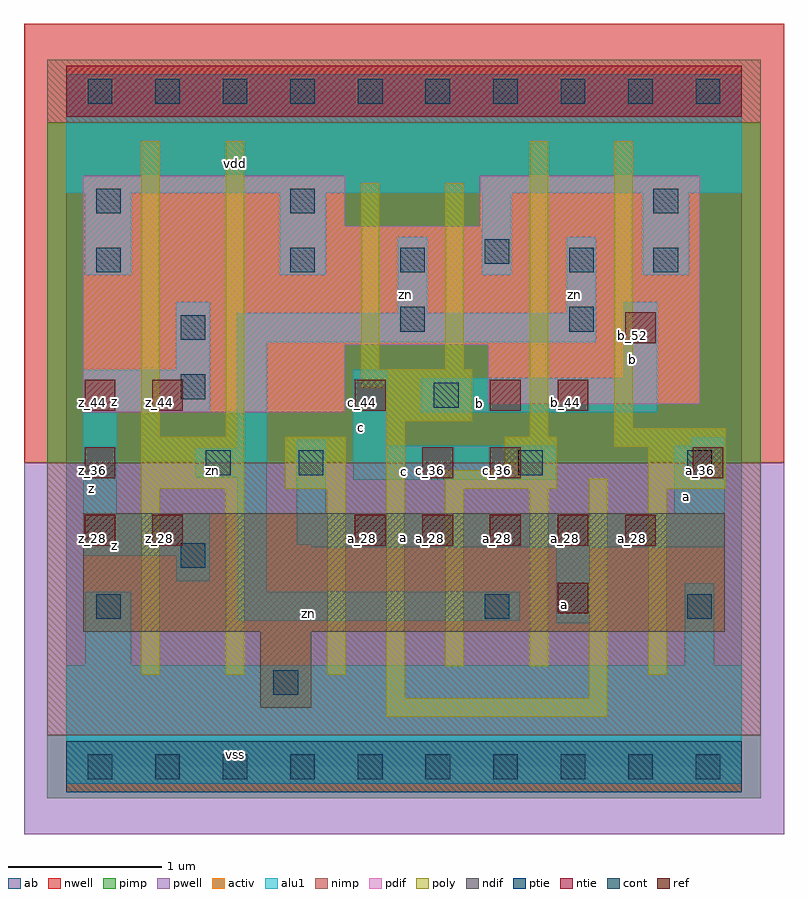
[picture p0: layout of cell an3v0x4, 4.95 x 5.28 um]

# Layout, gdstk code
import gdstk
lib = gdstk.Library(unit=1e-6, precision=2.5e-09)
def R(c, l, rs):  # rectangles x0, y0, x1, y1
    for r in rs: c.add(gdstk.rectangle(r[:2], r[2:], *l))
def A(c, l, x, y, w, h, nx, ny, dx, dy):  # array of equal rectangles
    R(c, l, [(x+i*dx, y+j*dy, x+i*dx+w, y+j*dy+h) for i in range(nx) for j in range(ny)])
ndif = (3, 0)
pdif = (4, 0)
ntie = (5, 0)
ptie = (6, 0)
ref = (24, 0)
cont = (25, 0)
pwell = (41, 0)
nwell = (42, 0)
activ = (43, 0)
pimp = (44, 0)
nimp = (45, 0)
poly = (46, 0)
alu1 = (49, 0)
ab = (63, 0)

an3v0x4 = lib.new_cell('an3v0x4')
R(an3v0x4, ndif, [(1.265,0.385,1.595,0.88), (0.11,0.88,4.29,1.65)])
R(an3v0x4, pdif, [(0.11,2.31,1.815,2.75), (2.75,2.365,4.125,2.75), (0.11,2.75,4.125,3.52), (0.11,3.52,1.815,3.85), (2.695,3.52,4.125,3.85)])
R(an3v0x4, ntie, [(0,4.235,4.4,4.565)])
R(an3v0x4, ptie, [(0,-0.165,4.4,0.165)])
A(an3v0x4, ref, 0.12, 1.44, 0.2, 0.2, 1, 3, 0, 0.44)
A(an3v0x4, ref, 1.88, 1.44, 0.2, 0.2, 5, 1, 0.44, 0)
R(an3v0x4, ref, [(3.2,1,3.4,1.2), (0.56,1.44,0.76,1.64), (2.32,1.88,2.52,2.08), (2.76,1.88,2.96,2.08), (4.08,1.88,4.28,2.08), (0.56,2.32,0.76,2.52), (1.88,2.32,2.08,2.52), (2.76,2.32,2.96,2.52), (3.2,2.32,3.4,2.52), (3.64,2.76,3.84,2.96)])
A(an3v0x4, cont, 0.14, -0.08, 0.16, 0.16, 10, 2, 0.44, 4.4)
R(an3v0x4, cont, [(1.35,0.47,1.51,0.63), (0.195,0.965,0.355,1.125), (2.725,0.965,2.885,1.125), (4.045,0.965,4.205,1.125), (0.745,1.295,0.905,1.455), (0.91,1.9,1.07,2.06), (1.515,1.9,1.675,2.06), (2.945,1.9,3.105,2.06), (4.045,1.9,4.205,2.06), (2.395,2.34,2.555,2.5), (0.745,2.395,0.905,2.555), (0.745,2.78,0.905,2.94), (2.175,2.835,2.335,2.995), (3.275,2.835,3.435,2.995), (0.195,3.22,0.355,3.38), (1.46,3.22,1.62,3.38), (2.175,3.22,2.335,3.38), (3.275,3.22,3.435,3.38), (3.825,3.22,3.985,3.38), (2.725,3.275,2.885,3.435), (0.195,3.605,0.355,3.765), (1.46,3.605,1.62,3.765), (3.825,3.605,3.985,3.765)])
R(an3v0x4, pwell, [(-0.275,-0.44,4.675,1.98)])
R(an3v0x4, nwell, [(-0.275,1.98,4.675,4.84)])
R(an3v0x4, activ, [(0,-0.165,4.4,0.165), (1.265,0.385,1.595,0.88), (0.11,0.88,4.29,1.65), (0.11,2.31,1.815,2.75), (2.75,2.365,4.125,2.75), (0.11,2.75,4.125,3.52), (0.11,3.52,1.815,3.85), (2.695,3.52,4.125,3.85), (0,4.235,4.4,4.565)])
R(an3v0x4, pimp, [(-0.125,-0.205,4.525,0.205), (-0.125,1.98,4.525,4.195)])
R(an3v0x4, nimp, [(-0.125,0.205,4.525,1.98), (-0.125,4.195,4.525,4.605)])
R(an3v0x4, poly, [(2.085,0.325,3.525,0.445), (2.085,0.445,2.205,2.25), (3.405,0.445,3.525,1.875), (0.49,0.6,0.61,1.81), (1.04,0.6,1.16,1.81), (1.7,0.6,1.82,1.81), (3.79,0.6,3.91,1.81), (2.47,0.655,2.59,1.81), (3.02,0.655,3.14,1.81), (0.49,1.81,1.16,2.15), (1.425,1.81,1.82,2.15), (2.47,1.81,3.195,1.93), (3.79,1.81,4.295,2.085), (2.855,1.93,3.195,2.15), (3.57,2.085,4.295,2.205), (0.49,2.15,0.61,4.075), (1.04,2.15,1.16,4.075), (3.02,2.15,3.14,4.075), (3.57,2.205,3.69,4.075), (2.085,2.25,2.645,2.47), (1.92,2.47,2.645,2.59), (1.92,2.59,2.04,3.8), (2.47,2.59,2.59,3.8)])
R(an3v0x4, alu1, [(0,-0.11,4.4,0.66), (0.125,0.66,0.425,1.14), (4.03,0.66,4.22,1.195), (3.19,0.935,3.41,1.43), (1.115,0.95,2.955,1.14), (1.115,1.14,1.305,1.885), (0.715,1.21,0.935,1.375), (0.11,1.375,0.935,1.65), (1.595,1.43,4.29,1.445), (1.5,1.445,4.29,1.65), (0.11,1.65,0.33,2.31), (1.5,1.65,1.69,2.13), (3.96,1.65,4.29,2.09), (1.87,1.87,3.19,2.09), (0.84,1.885,1.305,2.075), (1.115,2.075,1.305,2.765), (1.87,2.09,2.09,2.585), (4.07,2.09,4.29,2.145), (0.11,2.31,0.935,2.585), (2.31,2.31,3.85,2.53), (3.63,2.53,3.85,3.025), (0.715,2.585,0.935,3.025), (1.115,2.765,3.45,2.955), (2.16,2.955,2.35,3.45), (3.26,2.955,3.45,3.45), (0.125,3.205,0.425,3.74), (1.39,3.205,1.69,3.74), (2.71,3.205,2.9,3.74), (3.755,3.205,4.055,3.74), (0,3.74,4.4,4.51)])
R(an3v0x4, ab, [(0,0,4.4,4.4)])
an3v0x4.add(gdstk.Label('vss', (1.1,0.0825), layer=49, texttype=0))
an3v0x4.add(gdstk.Label('a', (3.245,1.0575), layer=49, texttype=0))
an3v0x4.add(gdstk.Label('zn', (1.575,0.9975), layer=49, texttype=0))
an3v0x4.add(gdstk.Label('a', (2.1975,1.495), layer=49, texttype=0))
an3v0x4.add(gdstk.Label('a', (4.0425,1.76), layer=49, texttype=0))
an3v0x4.add(gdstk.Label('c', (2.2,1.925), layer=49, texttype=0))
an3v0x4.add(gdstk.Label('b', (2.695,2.365), layer=49, texttype=0))
an3v0x4.add(gdstk.Label('b', (3.685,2.6525), layer=49, texttype=0))
an3v0x4.add(gdstk.Label('c', (1.925,2.2125), layer=49, texttype=0))
an3v0x4.add(gdstk.Label('z', (0.315,1.4425), layer=49, texttype=0))
an3v0x4.add(gdstk.Label('zn', (0.955,1.9325), layer=49, texttype=0))
an3v0x4.add(gdstk.Label('z', (0.165,1.815), layer=49, texttype=0))
an3v0x4.add(gdstk.Label('z', (0.315,2.3775), layer=49, texttype=0))
an3v0x4.add(gdstk.Label('zn', (3.3075,3.0775), layer=49, texttype=0))
an3v0x4.add(gdstk.Label('zn', (2.2075,3.0775), layer=49, texttype=0))
an3v0x4.add(gdstk.Label('vdd', (1.1,3.9325), layer=49, texttype=0))
an3v0x4.add(gdstk.Label('z_44', (0.61,2.37), layer=24, texttype=0))
an3v0x4.add(gdstk.Label('a_36', (4.13,1.93), layer=24, texttype=0))
an3v0x4.add(gdstk.Label('b_52', (3.69,2.81), layer=24, texttype=0))
an3v0x4.add(gdstk.Label('a_28', (3.69,1.49), layer=24, texttype=0))
an3v0x4.add(gdstk.Label('b_44', (3.25,2.37), layer=24, texttype=0))
an3v0x4.add(gdstk.Label('a_28', (3.25,1.49), layer=24, texttype=0))
an3v0x4.add(gdstk.Label('a_20', (3.25,1.05), layer=24, texttype=0))
an3v0x4.add(gdstk.Label('b_44', (2.81,2.37), layer=24, texttype=0))
an3v0x4.add(gdstk.Label('c_36', (2.81,1.93), layer=24, texttype=0))
an3v0x4.add(gdstk.Label('a_28', (2.81,1.49), layer=24, texttype=0))
an3v0x4.add(gdstk.Label('c_36', (2.37,1.93), layer=24, texttype=0))
an3v0x4.add(gdstk.Label('a_28', (2.37,1.49), layer=24, texttype=0))
an3v0x4.add(gdstk.Label('z_44', (0.17,2.37), layer=24, texttype=0))
an3v0x4.add(gdstk.Label('z_36', (0.17,1.93), layer=24, texttype=0))
an3v0x4.add(gdstk.Label('z_28', (0.17,1.49), layer=24, texttype=0))
an3v0x4.add(gdstk.Label('c_44', (1.93,2.37), layer=24, texttype=0))
an3v0x4.add(gdstk.Label('a_28', (1.93,1.49), layer=24, texttype=0))
an3v0x4.add(gdstk.Label('z_28', (0.61,1.49), layer=24, texttype=0))

lib.write_gds('an3v0x4.gds')
